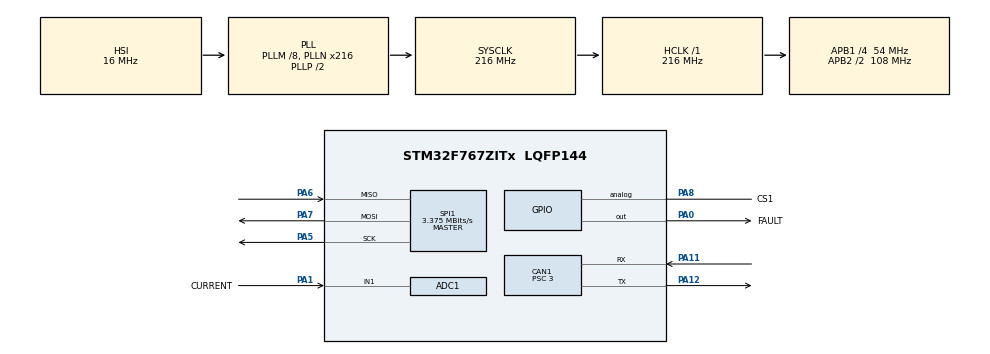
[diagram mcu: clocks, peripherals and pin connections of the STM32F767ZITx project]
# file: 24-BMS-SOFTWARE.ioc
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ADC1.Channel-0\#ChannelRegularConversion=ADC_CHANNEL_1
ADC1.ContinuousConvMode=ENABLE
ADC1.DMAContinuousRequests=ENABLE
ADC1.NbrOfConversionFlag=1
ADC1.Rank-0\#ChannelRegularConversion=1
ADC1.SamplingTime-0\#ChannelRegularConversion=ADC_SAMPLETIME_3CYCLES
ADC1.ScanConvMode=ADC_SCAN_ENABLE
ADC1.master=1
CAN1.BS1=CAN_BS1_15TQ
CAN1.BS2=CAN_BS2_2TQ
CAN1.CalculateBaudRate=1000000
CAN1.CalculateTimeBit=1000
CAN1.CalculateTimeQuantum=55.55555555555556
CAN1.Prescaler=3
CORTEX_M7.default_mode_Activation=1
Dma.ADC1.0.Direction=DMA_PERIPH_TO_MEMORY
Dma.ADC1.0.FIFOMode=DMA_FIFOMODE_DISABLE
Dma.ADC1.0.Instance=DMA2_Stream0
Dma.ADC1.0.MemDataAlignment=DMA_MDATAALIGN_HALFWORD
Dma.ADC1.0.MemInc=DMA_MINC_ENABLE
Dma.ADC1.0.Mode=DMA_CIRCULAR
Dma.ADC1.0.PeriphDataAlignment=DMA_PDATAALIGN_HALFWORD
Dma.ADC1.0.PeriphInc=DMA_PINC_DISABLE
Dma.ADC1.0.Priority=DMA_PRIORITY_LOW
Dma.Request0=ADC1
Mcu.Family=STM32F7
Mcu.Name=STM32F767ZITx
Mcu.Package=LQFP144
NVIC.DMA2_Stream0_IRQn=true\:0\:0\:false\:false\:true\:false\:true\:true
NVIC.PriorityGroup=NVIC_PRIORITYGROUP_4
PA0/WKUP.GPIO_Label=FAULT
PA0/WKUP.Signal=GPIO_Output
PA1.GPIO_Label=CURRENT
PA1.Signal=ADCx_IN1
PA11.Mode=CAN_Activate
PA11.Signal=CAN1_RX
PA12.Mode=CAN_Activate
PA12.Signal=CAN1_TX
PA13.Signal=SYS_JTMS-SWDIO
PA14.Signal=SYS_JTCK-SWCLK
PA5.Mode=Full_Duplex_Master
PA5.Signal=SPI1_SCK
PA6.Mode=Full_Duplex_Master
PA6.Signal=SPI1_MISO
PA7.Mode=Full_Duplex_Master
PA7.Signal=SPI1_MOSI
PA8.GPIO_Label=CS1
PA8.Signal=GPIO_Analog
ProjectManager.HeapSize=0x200
ProjectManager.StackSize=0x400
ProjectManager.TargetToolchain=STM32CubeIDE
RCC.AHBFreq_Value=216000000
RCC.APB1CLKDivider=RCC_HCLK_DIV4
RCC.APB1Freq_Value=54000000
RCC.APB1TimFreq_Value=108000000
RCC.APB2CLKDivider=RCC_HCLK_DIV2
RCC.APB2Freq_Value=108000000
RCC.APB2TimFreq_Value=216000000
RCC.CortexFreq_Value=216000000
RCC.HCLKFreq_Value=216000000
RCC.HSE_VALUE=25000000
RCC.HSI_VALUE=16000000
RCC.LSE_VALUE=32768
RCC.PLLM=8
RCC.PLLN=216
RCC.SYSCLKFreq_VALUE=216000000
RCC.SYSCLKSource=RCC_SYSCLKSOURCE_PLLCLK
RCC.USBFreq_Value=216000000
RCC.VCOOutputFreq_Value=432000000
SH.ADCx_IN1.0=ADC1_IN1,IN1
SPI1.BaudRatePrescaler=SPI_BAUDRATEPRESCALER_32
SPI1.CLKPhase=SPI_PHASE_2EDGE
SPI1.CLKPolarity=SPI_POLARITY_HIGH
SPI1.CalculateBaudRate=3.375 MBits/s
SPI1.DataSize=SPI_DATASIZE_8BIT
SPI1.Direction=SPI_DIRECTION_2LINES
SPI1.Mode=SPI_MODE_MASTER
SPI1.VirtualType=VM_MASTER
TIM10.Period=1250
TIM10.Prescaler=900
TIM11.Period=1250
TIM11.Prescaler=900
TIM6.Period=1250
TIM6.Prescaler=900
TIM7.Period=1250
TIM7.Prescaler=900
VP_TIM10_VS_ClockSourceINT.Mode=Enable_Timer
VP_TIM11_VS_ClockSourceINT.Mode=Enable_Timer
VP_TIM6_VS_ClockSourceINT.Mode=Enable_Timer
VP_TIM7_VS_ClockSourceINT.Mode=Enable_Timer
board=custom

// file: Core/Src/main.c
/* USER CODE BEGIN Header */
/**
 ******************************************************************************
 * @file           : main.c
 * @brief          : Main program body
 ******************************************************************************
 * @attention
 *
 * Copyright (c) 2024 STMicroelectronics.
 * All rights reserved.
 *
 * This software is licensed under terms that can be found in the LICENSE file
 * in the root directory of this software component.
 * If no LICENSE file comes with this software, it is provided AS-IS.
 *
 ******************************************************************************
 */
/* USER CODE END Header */
#include "main.h"

/* USER CODE BEGIN Includes */
#include "LT_SPI.h"
#include "LTC6811.h"
#include "LTC681x.h"
#include <string.h>
#include <math.h>
/* USER CODE END Includes */

/* USER CODE BEGIN PD */
#define OV 4.2
#define UV 2.5
#define OT 60
#define UT -10
/* USER CODE END PD */

ADC_HandleTypeDef hadc1;
DMA_HandleTypeDef hdma_adc1;

CAN_HandleTypeDef hcan1;

SPI_HandleTypeDef hspi1;

TIM_HandleTypeDef htim6;
TIM_HandleTypeDef htim7;
TIM_HandleTypeDef htim10;
TIM_HandleTypeDef htim11;

/* USER CODE BEGIN PV */
// ADC
uint16_t currentAdcValue;

// LTC6811
#define TOTAL_IC 2 // this needs to be raised to 2*no of segments in reality.
cell_asic bms_ic[TOTAL_IC];

// ERROR
int8_t cvError = 0, auxError = 0;
uint8_t BMS_State_Out = 1;
int NV[TOTAL_IC][12];
int NT[TOTAL_IC][4];
int NPEC_V = 0, NPEC_T = 0;

// TESTING
float voltages[24];
float temperatures[8];
float convertedTemperatures[8];

// TIMING
uint16_t time, time2;
uint16_t tim6counter = 0, tim7counter = 0, tim10counter = 0, tim11counter = 0;
bool flagStartCVConversion = false, flagReadCVConversion = false, flagStartAuxConversion = false, flagReadAuxConversion = false, flagErrorCheck = false;

// LTC CFG
bool REFON = true;                                                                                    // determines the behaviour of the Vref pins, true means on
bool ADCOPT = false;                                                                                  // chooses between the different frequency options, where adcopt = 0 allows 422hz, 27khz (fast), 7khz (normal), 26hz (filtered) and adcopt =  1 1khz, 14khz, 3khz, 2khz
bool gpiox[5] = {false, false, false, false, false};                                                  // false is pulldown on and true is pulldown off
bool dccx[12] = {false, false, false, false, false, false, false, false, false, false, false, false}; // balancing control when a true sets the S pin high
bool dcto[4] = {false, false, false, false};                                                          // discharge timer, false is disabled

/* USER CODE END PV */

void SystemClock_Config(void);
static void MPU_Config(void);
static void MX_GPIO_Init(void);
static void MX_DMA_Init(void);
static void MX_ADC1_Init(void);
static void MX_CAN1_Init(void);
static void MX_SPI1_Init(void);
static void MX_TIM6_Init(void);
static void MX_TIM7_Init(void);
static void MX_TIM10_Init(void);
static void MX_TIM11_Init(void);

int main(void)
{

  /* MPU Configuration--------------------------------------------------------*/
  MPU_Config();

  /* MCU Configuration--------------------------------------------------------*/

  /* Reset of all peripherals, Initializes the Flash interface and the Systick. */
  HAL_Init();

  /* Configure the system clock */
  SystemClock_Config();

  /* Initialize all configured peripherals */
  MX_GPIO_Init();
  MX_DMA_Init();
  MX_ADC1_Init();
  MX_CAN1_Init();
  MX_SPI1_Init();
  MX_TIM6_Init();
  MX_TIM7_Init();
  MX_TIM10_Init();
  MX_TIM11_Init();
  /* USER CODE BEGIN 2 */
  HAL_ADC_Start_DMA(&hadc1, (uint32_t *)&currentAdcValue, 1);

  HAL_CAN_Init(&hcan1);
  HAL_CAN_Start(&hcan1);

  INIT_LTC6811();

  // start timers

  /* USER CODE END 2 */

  /* Infinite loop */
  /* USER CODE BEGIN WHILE */
  time = HAL_GetTick();
  while (1)
  {
    time2 = HAL_GetTick();
    /* USER CODE END WHILE */

    /* USER CODE BEGIN 3 */
    // check the voltages
    // start the CV Conversion
    if (flagStartCVConversion)
    {
      wakeup_idle(TOTAL_IC);
      LTC6811_adcv(MD_27KHZ_14KHZ, DCP_DISABLED, CELL_CH_ALL);
      flagStartCVConversion = false;
    }

    // read the CB conversion
    if (flagReadCVConversion)
    {
      wakeup_idle(TOTAL_IC);
      cvError = LTC6811_rdcv(CELL_CH_ALL, TOTAL_IC, bms_ic);
      for (int j = 0; j < TOTAL_IC; j++)
      {
        for (int i = 0; i < 12; i++)
          voltages[i + 12 * j] = bms_ic[j].cells.c_codes[i] * 0.0001;
      }
      flagReadCVConversion = false;
    }

    // check the temperatures
    // start the aux conversion
    if (flagStartAuxConversion)
    {
      wakeup_idle(TOTAL_IC);
      LTC6811_adax(MD_27KHZ_14KHZ, AUX_CH_ALL);
      flagStartAuxConversion = false;
    }

    // read the aux conversion
    if (flagReadAuxConversion)
    {
      wakeup_idle(TOTAL_IC);
      auxError = LTC6811_rdaux(AUX_CH_ALL, TOTAL_IC, bms_ic);
      for (int j = 0; j < TOTAL_IC; j++)
      {
        for (int i = 0; i < 4; i++)
          temperatures[i + 4 * j] = bms_ic[j].aux.a_codes[i];
      }
      flagReadAuxConversion = false;

      // convert the temperature voltages into actual temperatures
      convertTemperatures();
    }

    // check the current
    // convert the current adc into actual current

    // balancing mode

    if (flagErrorCheck)
    {
      errorCheck();
      flagErrorCheck = false;
    }

    // handle the fault output
    if (!cvError && !auxError)
    {
      HAL_GPIO_WritePin(FAULT_GPIO_Port, FAULT_Pin, GPIO_PIN_SET);
    }
    else
    {
      HAL_GPIO_WritePin(FAULT_GPIO_Port, FAULT_Pin, GPIO_PIN_RESET);
    }

    // SOC estimation/ Coloumb counting (not using the model)
  }
  /* USER CODE END 3 */
}

void SystemClock_Config(void)
{
  RCC_OscInitTypeDef RCC_OscInitStruct = {0};
  RCC_ClkInitTypeDef RCC_ClkInitStruct = {0};

  /** Configure the main internal regulator output voltage
   */
  __HAL_RCC_PWR_CLK_ENABLE();
  __HAL_PWR_VOLTAGESCALING_CONFIG(PWR_REGULATOR_VOLTAGE_SCALE1);

  /** Initializes the RCC Oscillators according to the specified parameters
   * in the RCC_OscInitTypeDef structure.
   */
  RCC_OscInitStruct.OscillatorType = RCC_OSCILLATORTYPE_HSI;
  RCC_OscInitStruct.HSIState = RCC_HSI_ON;
  RCC_OscInitStruct.HSICalibrationValue = RCC_HSICALIBRATION_DEFAULT;
  RCC_OscInitStruct.PLL.PLLState = RCC_PLL_ON;
  RCC_OscInitStruct.PLL.PLLSource = RCC_PLLSOURCE_HSI;
  RCC_OscInitStruct.PLL.PLLM = 8;
  RCC_OscInitStruct.PLL.PLLN = 216;
  RCC_OscInitStruct.PLL.PLLP = RCC_PLLP_DIV2;
  RCC_OscInitStruct.PLL.PLLQ = 2;
  RCC_OscInitStruct.PLL.PLLR = 2;
  if (HAL_RCC_OscConfig(&RCC_OscInitStruct) != HAL_OK)
  {
    Error_Handler();
  }

  /** Activate the Over-Drive mode
   */
  if (HAL_PWREx_EnableOverDrive() != HAL_OK)
  {
    Error_Handler();
  }

  /** Initializes the CPU, AHB and APB buses clocks
   */
  RCC_ClkInitStruct.ClockType = RCC_CLOCKTYPE_HCLK | RCC_CLOCKTYPE_SYSCLK | RCC_CLOCKTYPE_PCLK1 | RCC_CLOCKTYPE_PCLK2;
  RCC_ClkInitStruct.SYSCLKSource = RCC_SYSCLKSOURCE_PLLCLK;
  RCC_ClkInitStruct.AHBCLKDivider = RCC_SYSCLK_DIV1;
  RCC_ClkInitStruct.APB1CLKDivider = RCC_HCLK_DIV4;
  RCC_ClkInitStruct.APB2CLKDivider = RCC_HCLK_DIV2;

  if (HAL_RCC_ClockConfig(&RCC_ClkInitStruct, FLASH_LATENCY_7) != HAL_OK)
  {
    Error_Handler();
  }
}

static void MX_ADC1_Init(void)
{

  ADC_ChannelConfTypeDef sConfig = {0};

  /** Configure the global features of the ADC (Clock, Resolution, Data Alignment and number of conversion)
   */
  hadc1.Instance = ADC1;
  hadc1.Init.ClockPrescaler = ADC_CLOCK_SYNC_PCLK_DIV4;
  hadc1.Init.Resolution = ADC_RESOLUTION_12B;
  hadc1.Init.ScanConvMode = ADC_SCAN_ENABLE;
  hadc1.Init.ContinuousConvMode = ENABLE;
  hadc1.Init.DiscontinuousConvMode = DISABLE;
  hadc1.Init.ExternalTrigConvEdge = ADC_EXTERNALTRIGCONVEDGE_NONE;
  hadc1.Init.ExternalTrigConv = ADC_SOFTWARE_START;
  hadc1.Init.DataAlign = ADC_DATAALIGN_RIGHT;
  hadc1.Init.NbrOfConversion = 1;
  hadc1.Init.DMAContinuousRequests = ENABLE;
  hadc1.Init.EOCSelection = ADC_EOC_SINGLE_CONV;
  if (HAL_ADC_Init(&hadc1) != HAL_OK)
  {
    Error_Handler();
  }

  /** Configure for the selected ADC regular channel its corresponding rank in the sequencer and its sample time.
   */
  sConfig.Channel = ADC_CHANNEL_1;
  sConfig.Rank = ADC_REGULAR_RANK_1;
  sConfig.SamplingTime = ADC_SAMPLETIME_3CYCLES;
  if (HAL_ADC_ConfigChannel(&hadc1, &sConfig) != HAL_OK)
  {
    Error_Handler();
  }
}

static void MX_CAN1_Init(void)
{

  hcan1.Instance = CAN1;
  hcan1.Init.Prescaler = 3;
  hcan1.Init.Mode = CAN_MODE_NORMAL;
  hcan1.Init.SyncJumpWidth = CAN_SJW_1TQ;
  hcan1.Init.TimeSeg1 = CAN_BS1_15TQ;
  hcan1.Init.TimeSeg2 = CAN_BS2_2TQ;
  hcan1.Init.TimeTriggeredMode = DISABLE;
  hcan1.Init.AutoBusOff = DISABLE;
  hcan1.Init.AutoWakeUp = DISABLE;
  hcan1.Init.AutoRetransmission = DISABLE;
  hcan1.Init.ReceiveFifoLocked = DISABLE;
  hcan1.Init.TransmitFifoPriority = DISABLE;
  if (HAL_CAN_Init(&hcan1) != HAL_OK)
  {
    Error_Handler();
  }
}

static void MX_SPI1_Init(void)
{

  /* SPI1 parameter configuration*/
  hspi1.Instance = SPI1;
  hspi1.Init.Mode = SPI_MODE_MASTER;
  hspi1.Init.Direction = SPI_DIRECTION_2LINES;
  hspi1.Init.DataSize = SPI_DATASIZE_8BIT;
  hspi1.Init.CLKPolarity = SPI_POLARITY_HIGH;
  hspi1.Init.CLKPhase = SPI_PHASE_2EDGE;
  hspi1.Init.NSS = SPI_NSS_SOFT;
  hspi1.Init.BaudRatePrescaler = SPI_BAUDRATEPRESCALER_32;
  hspi1.Init.FirstBit = SPI_FIRSTBIT_MSB;
  hspi1.Init.TIMode = SPI_TIMODE_DISABLE;
  hspi1.Init.CRCCalculation = SPI_CRCCALCULATION_DISABLE;
  hspi1.Init.CRCPolynomial = 7;
  hspi1.Init.CRCLength = SPI_CRC_LENGTH_DATASIZE;
  hspi1.Init.NSSPMode = SPI_NSS_PULSE_DISABLE;
  if (HAL_SPI_Init(&hspi1) != HAL_OK)
  {
    Error_Handler();
  }
}

static void MX_TIM6_Init(void)
{

  TIM_MasterConfigTypeDef sMasterConfig = {0};

  htim6.Instance = TIM6;
  htim6.Init.Prescaler = 900;
  htim6.Init.CounterMode = TIM_COUNTERMODE_UP;
  htim6.Init.Period = 1250;
  htim6.Init.AutoReloadPreload = TIM_AUTORELOAD_PRELOAD_DISABLE;
  if (HAL_TIM_Base_Init(&htim6) != HAL_OK)
  {
    Error_Handler();
  }
  sMasterConfig.MasterOutputTrigger = TIM_TRGO_RESET;
  sMasterConfig.MasterSlaveMode = TIM_MASTERSLAVEMODE_DISABLE;
  if (HAL_TIMEx_MasterConfigSynchronization(&htim6, &sMasterConfig) != HAL_OK)
  {
    Error_Handler();
  }
}

static void MX_TIM7_Init(void)
{

  TIM_MasterConfigTypeDef sMasterConfig = {0};

  htim7.Instance = TIM7;
  htim7.Init.Prescaler = 900;
  htim7.Init.CounterMode = TIM_COUNTERMODE_UP;
  htim7.Init.Period = 1250;
  htim7.Init.AutoReloadPreload = TIM_AUTORELOAD_PRELOAD_DISABLE;
  if (HAL_TIM_Base_Init(&htim7) != HAL_OK)
  {
    Error_Handler();
  }
  sMasterConfig.MasterOutputTrigger = TIM_TRGO_RESET;
  sMasterConfig.MasterSlaveMode = TIM_MASTERSLAVEMODE_DISABLE;
  if (HAL_TIMEx_MasterConfigSynchronization(&htim7, &sMasterConfig) != HAL_OK)
  {
    Error_Handler();
  }
}

static void MX_TIM10_Init(void)
{

  htim10.Instance = TIM10;
  htim10.Init.Prescaler = 900;
  htim10.Init.CounterMode = TIM_COUNTERMODE_UP;
  htim10.Init.Period = 1250;
  htim10.Init.ClockDivision = TIM_CLOCKDIVISION_DIV1;
  htim10.Init.AutoReloadPreload = TIM_AUTORELOAD_PRELOAD_DISABLE;
  if (HAL_TIM_Base_Init(&htim10) != HAL_OK)
  {
    Error_Handler();
  }
}

static void MX_TIM11_Init(void)
{

  htim11.Instance = TIM11;
  htim11.Init.Prescaler = 900;
  htim11.Init.CounterMode = TIM_COUNTERMODE_UP;
  htim11.Init.Period = 1250;
  htim11.Init.ClockDivision = TIM_CLOCKDIVISION_DIV1;
  htim11.Init.AutoReloadPreload = TIM_AUTORELOAD_PRELOAD_DISABLE;
  if (HAL_TIM_Base_Init(&htim11) != HAL_OK)
  {
    Error_Handler();
  }
}

static void MX_DMA_Init(void)
{

  /* DMA controller clock enable */
  __HAL_RCC_DMA2_CLK_ENABLE();

  /* DMA interrupt init */
  /* DMA2_Stream0_IRQn interrupt configuration */
  HAL_NVIC_SetPriority(DMA2_Stream0_IRQn, 0, 0);
  HAL_NVIC_EnableIRQ(DMA2_Stream0_IRQn);
}

static void MX_GPIO_Init(void)
{
  GPIO_InitTypeDef GPIO_InitStruct = {0};

  /* GPIO Ports Clock Enable */
  __HAL_RCC_GPIOA_CLK_ENABLE();

  /*Configure GPIO pin Output Level */
  HAL_GPIO_WritePin(FAULT_GPIO_Port, FAULT_Pin, GPIO_PIN_RESET);

  /*Configure GPIO pin : FAULT_Pin */
  GPIO_InitStruct.Pin = FAULT_Pin;
  GPIO_InitStruct.Mode = GPIO_MODE_OUTPUT_PP;
  GPIO_InitStruct.Pull = GPIO_NOPULL;
  GPIO_InitStruct.Speed = GPIO_SPEED_FREQ_LOW;
  HAL_GPIO_Init(FAULT_GPIO_Port, &GPIO_InitStruct);

  /*Configure GPIO pin : CS1_Pin */
  GPIO_InitStruct.Pin = CS1_Pin;
  GPIO_InitStruct.Mode = GPIO_MODE_ANALOG;
  GPIO_InitStruct.Pull = GPIO_NOPULL;
  HAL_GPIO_Init(CS1_GPIO_Port, &GPIO_InitStruct);

}

/* USER CODE BEGIN 4 */
void HAL_TIM_PeriodElapsedCallback(TIM_HandleTypeDef *htim)
{
  if (htim->Instance == TIM6)
  {
    HAL_TIM_Base_Stop_IT(&htim6);              // stops this timer
    __HAL_TIM_CLEAR_IT(&htim6, TIM_IT_UPDATE); // clears the IT flag
    __HAL_TIM_SET_COUNTER(&htim6, 0);          // resets the timer's counter to 0
    flagStartCVConversion = true;              // enables the cell voltages conversion code block
    if (tim6counter++ > 65535)
      tim6counter = 0;
    HAL_TIM_Base_Start_IT(&htim7); // starts the next timer (TIM7)
  }
  if (htim->Instance == TIM7)
  {
    HAL_TIM_Base_Stop_IT(&htim7);              // stops this timer
    __HAL_TIM_CLEAR_IT(&htim7, TIM_IT_UPDATE); // clears the IT flag
    __HAL_TIM_SET_COUNTER(&htim7, 0);          // resets the timer's counter to 0
    flagReadCVConversion = true;               // enables the read cell voltages code block
    if (tim7counter++ > 65535)
      tim7counter = 0;
    HAL_TIM_Base_Start_IT(&htim10); // starts the next timer (TIM9)
  }
  if (htim->Instance == TIM10)
  {
    HAL_TIM_Base_Stop_IT(&htim10);              // stops this timer
    __HAL_TIM_CLEAR_IT(&htim10, TIM_IT_UPDATE); // clears the IT flag
    __HAL_TIM_SET_COUNTER(&htim10, 0);          // resets the timer's counter to 0
    flagStartAuxConversion = true;              // enables the aux voltages conversion code block
    if (tim10counter++ > 65535)
      tim10counter = 0;
    HAL_TIM_Base_Start_IT(&htim11); // starts the next timer (TIM11)
  }
  if (htim->Instance == TIM11)
  {
    HAL_TIM_Base_Stop_IT(&htim11);              // stops this timer
    __HAL_TIM_CLEAR_IT(&htim11, TIM_IT_UPDATE); // clears the IT flag
    __HAL_TIM_SET_COUNTER(&htim11, 0);          // resets the timer's counter to 0
    flagReadAuxConversion = true;               // enables the read aux voltages code block
    flagErrorCheck = true;
    if (tim11counter++ > 65535)
      tim11counter = 0;
    HAL_TIM_Base_Start_IT(&htim6); // starts the next timer (TIM6)
  }
}

void INIT_LTC6811()
{
  LTC681x_init_cfg(TOTAL_IC, bms_ic); // call the function from library to initialise the configuration variables

  for (uint8_t i = 0; i < TOTAL_IC; i++)
  {
    // set the configuration variables for each IC
    LTC681x_set_cfgr(i, bms_ic, REFON, ADCOPT, gpiox, dccx);
  }

  // reset the CRC count to 0
  LTC681x_init_cfg(TOTAL_IC, bms_ic);
  // init the limits specific to chip, i.e. LTC6813 or LTC6811
  LTC6811_init_reg_limits(TOTAL_IC, bms_ic);
  // write the cfg registers
  wakeup_sleep(TOTAL_IC);
  LTC681x_wrcfg(TOTAL_IC, bms_ic);
}

void convertTemperatures()
{
  // iterate through voltage array
  int voltages_length = sizeof(voltages) / sizeof(voltages[0]);

  for (int i = 0; i < voltages_length; i++)
  {
    // convert the voltage to a temperature
    // using the formula from the datasheet
    // Vtemp = 0.0001 * adcValue
    // T = (Vtemp - 0.5) / 0.01
    convertedTemperatures[i] = (voltages[i] - 0.5) / 0.01;
  }
}

void errorCheck()
{
  int voltages_length = sizeof(voltages) / sizeof(voltages[0]);
  int temperatures_length = sizeof(convertedTemperatures) / sizeof(convertedTemperatures[0]);

  // check the voltages
  for (int i = 0; i < voltages_length; i++)
  {
    if (voltages[i] > OV || voltages[i] < UV)
    {
      // raise an error
      // set the BMS_State_Out to 0
      BMS_State_Out = 0;
    }
  }

  // check the temperatures
  for (int i = 0; i < temperatures_length; i++)
  {
    if (convertedTemperatures[i] > OT || convertedTemperatures[i] < UT)
    {
      // raise an error
      // set the BMS_State_Out to 0
      BMS_State_Out = 0;
    }
  }

  // check the current

  // check the comms
}
/* USER CODE END 4 */

/* MPU Configuration */

void MPU_Config(void)
{
  MPU_Region_InitTypeDef MPU_InitStruct = {0};

  /* Disables the MPU */
  HAL_MPU_Disable();

  /** Initializes and configures the Region and the memory to be protected
   */
  MPU_InitStruct.Enable = MPU_REGION_ENABLE;
  MPU_InitStruct.Number = MPU_REGION_NUMBER0;
  MPU_InitStruct.BaseAddress = 0x0;
  MPU_InitStruct.Size = MPU_REGION_SIZE_4GB;
  MPU_InitStruct.SubRegionDisable = 0x87;
  MPU_InitStruct.TypeExtField = MPU_TEX_LEVEL0;
  MPU_InitStruct.AccessPermission = MPU_REGION_NO_ACCESS;
  MPU_InitStruct.DisableExec = MPU_INSTRUCTION_ACCESS_DISABLE;
  MPU_InitStruct.IsShareable = MPU_ACCESS_SHAREABLE;
  MPU_InitStruct.IsCacheable = MPU_ACCESS_NOT_CACHEABLE;
  MPU_InitStruct.IsBufferable = MPU_ACCESS_NOT_BUFFERABLE;

  HAL_MPU_ConfigRegion(&MPU_InitStruct);
  /* Enables the MPU */
  HAL_MPU_Enable(MPU_PRIVILEGED_DEFAULT);
}

void Error_Handler(void)
{
  __disable_irq();
  while (1)
  {
  }
}
